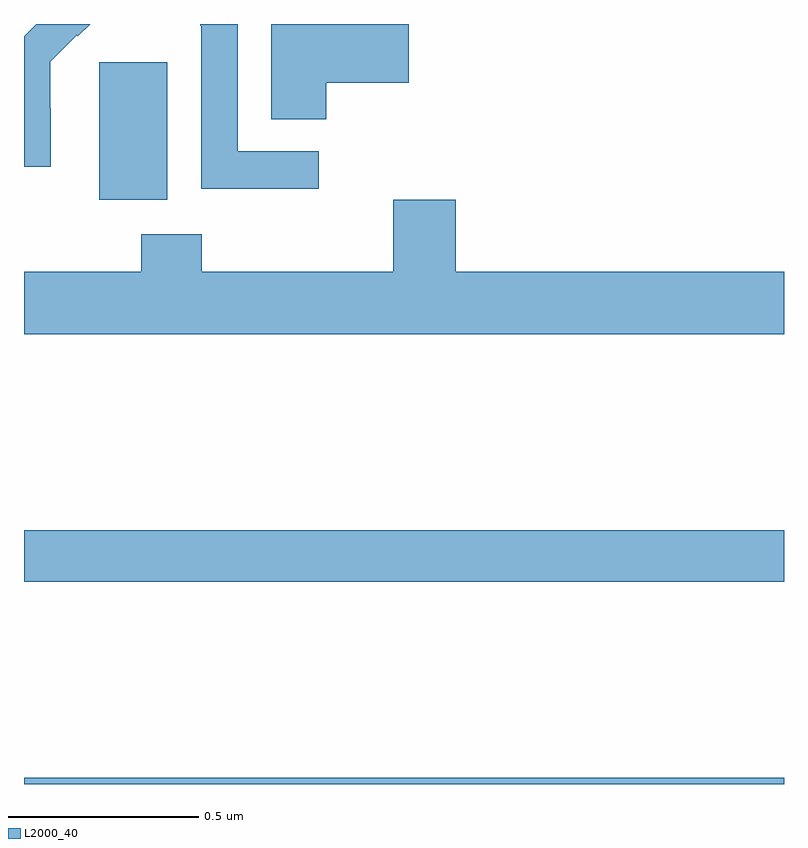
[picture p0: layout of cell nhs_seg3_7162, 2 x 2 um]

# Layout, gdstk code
import gdstk
lib = gdstk.Library(unit=1e-6, precision=1e-09)
def R(c, l, rs):  # rectangles x0, y0, x1, y1
    for r in rs: c.add(gdstk.rectangle(r[:2], r[2:], *l))
def P(c, l, *ps):  # polygons
    for p in ps: c.add(gdstk.Polygon(p, *l))
L2000_40 = (2000, 40)

nhs_seg3_7162 = lib.new_cell('nhs_seg3_7162')
R(nhs_seg3_7162, L2000_40, [(200,698.4,202,698.416), (200,698.932,202,699.068), (200.198,699.938,200.377,700.299)])
P(nhs_seg3_7162, L2000_40, [(200.07,700.178),(200.069,700.178),(200.069,700.301),(200.139,700.371),(200.142,700.368),(200.174,700.4),(200.032,700.4),(200,700.368),(200,700.024),(200.07,700.024)],
  [(200.776,700.065),(200.562,700.065),(200.562,700.4),(200.464,700.4),(200.464,700.396),(200.466,700.396),(200.466,699.967),(200.776,699.967)],
  [(200.795,700.246),(201.013,700.246),(201.013,700.4),(200.651,700.4),(200.651,700.15),(200.795,700.15)],
  [(202,699.748),(201.136,699.748),(201.136,699.937),(200.972,699.937),(200.972,699.748),(200.468,699.748),(200.468,699.847),(200.308,699.847),(200.308,699.748),(200,699.748),(200,699.584),(202,699.584)])

lib.write_gds('nhs_seg3_7162.gds')
